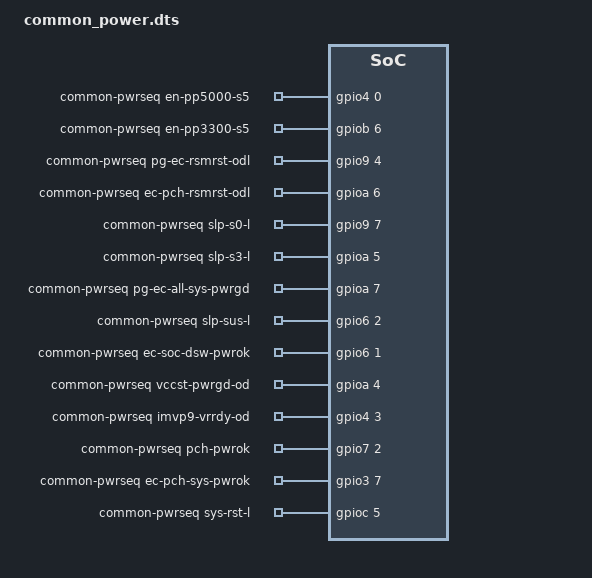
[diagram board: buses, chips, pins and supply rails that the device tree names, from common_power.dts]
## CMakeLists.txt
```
# Copyright 2021 The ChromiumOS Authors
# Use of this source code is governed by a BSD-style license that can be
# found in the LICENSE file.

cmake_minimum_required(VERSION 3.13.1)

find_package(Zephyr REQUIRED HINTS "${ZEPHYR_BASE}")

zephyr_include_directories(include)
zephyr_library_sources("src/common.c")
zephyr_library_sources("src/sub_board.c")
zephyr_library_sources_ifdef(CONFIG_AP_PWRSEQ "src/board_power.c")

if(DEFINED CONFIG_BOARD_NIVVIKS)
	project(nivviks)
	zephyr_library_sources(
			"nivviks/src/led.c"
			"nivviks/src/form_factor.c"
			"nivviks/src/keyboard.c"
	)
	zephyr_library_sources_ifdef(CONFIG_PLATFORM_EC_FAN "nivviks/src/fan.c")
	zephyr_library_sources_ifdef(CONFIG_PLATFORM_EC_USBC "nivviks/src/usbc.c")
	zephyr_library_sources_ifdef(CONFIG_PLATFORM_EC_CHARGER "nivviks/src/charger.c")
endif()
if(DEFINED CONFIG_BOARD_NEREID)
	project(nereid)
	zephyr_library_sources(
			"src/led.c"
			"nereid/src/keyboard.c"
			"nereid/src/hdmi.c"
	)
	zephyr_library_sources_ifdef(CONFIG_PLATFORM_EC_USBC "nereid/src/usbc.c")
	zephyr_library_sources_ifdef(CONFIG_PLATFORM_EC_CHARGER "nereid/src/charger.c")
endif()
if(DEFINED CONFIG_BOARD_CRAASK)
	zephyr_library_sources(
			"craask/src/form_factor.c"
			"craask/src/keyboard.c"
			"craask/src/led.c"
	)
	project(craask)
	zephyr_library_sources_ifdef(CONFIG_PLATFORM_EC_USBC "craask/src/usbc.c")
	zephyr_library_sources_ifdef(CONFIG_PLATFORM_EC_CHARGER "craask/src/charger.c")
endif()
if(DEFINED CONFIG_BOARD_PUJJO)
	project(pujjo)
	zephyr_library_sources(
			"pujjo/src/led.c"
			"pujjo/src/keyboard.c"
			"pujjo/src/hdmi.c"
			"pujjo/src/form_factor.c"
	)
	zephyr_library_sources_ifdef(CONFIG_PLATFORM_EC_FAN "pujjo/src/fan.c")
	zephyr_library_sources_ifdef(CONFIG_PLATFORM_EC_USBC "pujjo/src/usbc.c")
	zephyr_library_sources_ifdef(CONFIG_PLATFORM_EC_CHARGER "pujjo/src/charger.c")
endif()
if(DEFINED CONFIG_BOARD_XIVU)
	project(xivu)
	zephyr_library_sources(
			"xivu/src/keyboard.c"
	)
	zephyr_library_sources_ifdef(CONFIG_PLATFORM_EC_USBC "xivu/src/usbc.c")
	zephyr_library_sources_ifdef(CONFIG_PLATFORM_EC_CHARGER "xivu/src/charger.c")
endif()
if(DEFINED CONFIG_BOARD_JOXER)
	project(joxer)
	zephyr_library_sources(
			"joxer/src/led.c"
			"joxer/src/keyboard.c"
	)
	zephyr_library_sources_ifdef(CONFIG_PLATFORM_EC_USBC "joxer/src/usbc.c")
	zephyr_library_sources_ifdef(CONFIG_PLATFORM_EC_CHARGER "joxer/src/charger.c")
	zephyr_library_sources_ifdef(CONFIG_PLATFORM_EC_FAN "joxer/src/fan.c")
endif()
if(DEFINED CONFIG_BOARD_YAVIKS)
	project(yaviks)
	zephyr_library_sources(
			"yaviks/src/led.c"
			"yaviks/src/keyboard.c"
			"yaviks/src/board.c"
			"yaviks/src/thermal.c"
	)
	zephyr_library_sources_ifdef(CONFIG_PLATFORM_EC_USBC "yaviks/src/usbc.c")
	zephyr_library_sources_ifdef(CONFIG_PLATFORM_EC_CHARGER "yaviks/src/charger.c")
	zephyr_library_sources_ifdef(CONFIG_PLATFORM_EC_FAN "yaviks/src/fan.c")
endif()
if(DEFINED CONFIG_BOARD_XIVUR)
	project(xivur)
	zephyr_library_sources(
			"xivur/src/led.c"
			"xivur/src/board.c"
			"xivur/src/keyboard.c"
	)
	zephyr_library_sources_ifdef(CONFIG_PLATFORM_EC_FAN "xivur/src/fan.c")
	zephyr_library_sources_ifdef(CONFIG_PLATFORM_EC_USBC "xivur/src/usbc.c")
	zephyr_library_sources_ifdef(CONFIG_PLATFORM_EC_CHARGER "xivur/src/charger.c")
endif()
```

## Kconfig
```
# Copyright 2021 The ChromiumOS Authors. All rights reserved.
# Use of this source code is governed by a BSD-style license that can be
# found in the LICENSE file.

config BOARD_NIVVIKS
	bool "Google Nivviks Board"
	help
	  Build Google Nivviks reference board. Nivviks has Intel ADL-N SoC
	  with NPCX993FA0BX EC.

config BOARD_NEREID
	bool "Google Nereid Board"
	help
	  Build Google Nereid reference board. Nereid has Intel ADL-N SoC
	  with IT81302 EC.

config BOARD_CRAASK
	bool "Google Craask Board"
	help
	  Build Google Craask board. Craask has Intel ADL-N SoC
	  with NPCX993FA0BX EC.

config BOARD_PUJJO
	bool "Google Pujjo Board"
	help
	  Build Google Pujjo board. Pujjo has Intel ADL-N SoC
	  with NPCX993FA0BX EC.

config BOARD_XIVU
        bool "Google Xivu Board"
        help
          Build Google Xivu board. Xivu has Intel ADL-N SoC
          with NPCX993FA0BX EC.

config BOARD_JOXER
	bool "Google Joxer Board"
	help
	  Build Google Joxer reference board. Joxer has Intel ADL-N SoC
	  with IT81302 EC.

module = NISSA
module-str = Nissa board-specific code
source "subsys/logging/Kconfig.template.log_config"

source "Kconfig.zephyr"
```

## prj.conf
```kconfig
# Copyright 2021 The ChromiumOS Authors
# Use of this source code is governed by a BSD-style license that can be
# found in the LICENSE file.

# Core EC configuration: build the EC application, using ECOS shims
# (which are currently required for a number of features).
CONFIG_CROS_EC=y
CONFIG_PLATFORM_EC=y
CONFIG_LTO=y

# Debug options and features; can be disabled to save memory or once bringup
# is complete.
CONFIG_SHELL_MINIMAL=n
CONFIG_LOG=y
CONFIG_LOG_MODE_MINIMAL=y

# RAM-saving options
# flash shell command is unused, allocated a 4kB buffer for flash test
CONFIG_FLASH_SHELL=n
# EC default 1kB buffer seems unnecessarily large, Zephyr default is 8 bytes
CONFIG_SHELL_BACKEND_SERIAL_TX_RING_BUFFER_SIZE=128

# Standard shimmed features
CONFIG_PLATFORM_EC_BACKLIGHT_LID=y
CONFIG_PLATFORM_EC_CONSOLE_CMD_SYSINFO=y
CONFIG_PLATFORM_EC_EEPROM_CBI_WP=y
CONFIG_PLATFORM_EC_LID_SWITCH=y
CONFIG_PLATFORM_EC_POWER_BUTTON=y
CONFIG_PLATFORM_EC_SWITCH=y
CONFIG_PLATFORM_EC_GMR_TABLET_MODE=y
CONFIG_PLATFORM_EC_TABLET_MODE=y
CONFIG_PLATFORM_EC_TABLET_MODE_SWITCH=y
CONFIG_PLATFORM_EC_VBOOT_EFS2=y
CONFIG_PLATFORM_EC_VBOOT_HASH=y

# Application processor; communicates with EC via eSPI
CONFIG_AP=y
CONFIG_AP_X86_INTEL_ADL=y
CONFIG_ESPI=y
CONFIG_PLATFORM_EC_HOST_INTERFACE_ESPI_VW_SLP_S4=y
CONFIG_PLATFORM_EC_HOST_INTERFACE_ESPI_VW_SLP_S5=y
CONFIG_PLATFORM_EC_HOSTCMD=y
CONFIG_HCDEBUG_OFF=y
CONFIG_PLATFORM_EC_THROTTLE_AP=y
CONFIG_PLATFORM_EC_PORT80=y
CONFIG_PLATFORM_EC_PORT80_QUIET=y

# AP Power Sequencing
CONFIG_AP_PWRSEQ=y
CONFIG_X86_NON_DSX_PWRSEQ_ADL=y
CONFIG_X86_NON_DSX_PWRSEQ_CONSOLE=y
CONFIG_X86_NON_DSX_PWRSEQ_HOST_CMD=y
CONFIG_AP_PWRSEQ_S0IX=y
CONFIG_AP_PWRSEQ_S0IX_ERROR_RECOVERY=y

# I2C
CONFIG_I2C=y

# Keyboard support
CONFIG_PLATFORM_EC_KBLIGHT_ENABLE_PIN=y
CONFIG_PLATFORM_EC_KEYBOARD_PROTOCOL_8042=y
CONFIG_PLATFORM_EC_VOLUME_BUTTONS=y
CONFIG_PLATFORM_EC_CMD_BUTTON=n
# Column 2 is driven through the GSC, which inverts the signal going through it
CONFIG_PLATFORM_EC_KEYBOARD_COL2_INVERTED=y

# LED
CONFIG_PLATFORM_EC_LED_COMMON=y
CONFIG_PLATFORM_EC_LED_PWM=y
CONFIG_PLATFORM_EC_LED_ONOFF_STATES=y
CONFIG_PLATFORM_EC_CONSOLE_CMD_LEDTEST=n

# MKBP event
CONFIG_PLATFORM_EC_MKBP_EVENT=y
CONFIG_PLATFORM_EC_MKBP_INPUT_DEVICES=y
CONFIG_PLATFORM_EC_MKBP_USE_GPIO_AND_HOST_EVENT=y

# Temperature sensor support
CONFIG_PLATFORM_EC_TEMP_SENSOR=y
CONFIG_PLATFORM_EC_THERMISTOR=y
CONFIG_PLATFORM_EC_TEMP_SENSOR_FIRST_READ_DELAY=y

# CBI EEPROM support
CONFIG_EEPROM=y
CONFIG_EEPROM_AT24=y
CONFIG_EEPROM_SHELL=n
CONFIG_PLATFORM_EC_CBI_EEPROM=y
CONFIG_PLATFORM_EC_BOARD_VERSION_CBI=y


# PWM support
CONFIG_PWM=y
CONFIG_PWM_SHELL=y

# TODO(b/188605676): bring these features up
CONFIG_PLATFORM_EC_BACKLIGHT_LID=n

# Sensors support
CONFIG_PLATFORM_EC_LID_ANGLE=y
CONFIG_PLATFORM_EC_LID_ANGLE_UPDATE=y
CONFIG_PLATFORM_EC_CONSOLE_CMD_ACCELS=y
CONFIG_PLATFORM_EC_CONSOLE_CMD_ACCEL_INFO=y
CONFIG_PLATFORM_EC_ACCEL_FIFO=y
CONFIG_PLATFORM_EC_SENSOR_TIGHT_TIMESTAMPS=y

# USB-C: enable PD on up to two ports
CONFIG_PLATFORM_EC_USBC=y
CONFIG_PLATFORM_EC_USBC_PPC=n
CONFIG_PLATFORM_EC_USB_VID=0x18d1
CONFIG_PLATFORM_EC_USB_PID=0x505a
# USB4 and TBT are unsupported
CONFIG_PLATFORM_EC_USB_PD_USB4=n
CONFIG_PLATFORM_EC_USB_PD_TBT_COMPAT_MODE=n

CONFIG_PLATFORM_EC_USB_MUX_RUNTIME_CONFIG=y
CONFIG_PLATFORM_EC_USB_MUX_VIRTUAL=y
# ADL integrated muxes are slow: unblock PD
CONFIG_PLATFORM_EC_USB_MUX_TASK=y

# USB-C TCPC and PPC standard options
CONFIG_PLATFORM_EC_USB_PD_TCPC_LOW_POWER=y
CONFIG_PLATFORM_EC_USB_PD_VBUS_MEASURE_CHARGER=y

# USB-A host ports
CONFIG_PLATFORM_EC_USBA=y
CONFIG_PLATFORM_EC_USB_PORT_ENABLE_DYNAMIC=y
# Both ports use a smart switch with CTL1..3 fixed high, for SDP2 or CDP only:
# either SLGC55545 or PI5USB2546.
CONFIG_PLATFORM_EC_USB_PORT_POWER_SMART=y
CONFIG_PLATFORM_EC_USB_PORT_POWER_SMART_CDP_SDP_ONLY=y
CONFIG_PLATFORM_EC_USB_PORT_POWER_SMART_DEFAULT_CDP=y
CONFIG_PLATFORM_EC_USB_PORT_POWER_SMART_INVERTED=y

# Battery support
CONFIG_PLATFORM_EC_BATTERY_CUT_OFF=y
CONFIG_PLATFORM_EC_BATTERY_PRESENT_GPIO=y
CONFIG_PLATFORM_EC_BATTERY_FUEL_GAUGE=y
CONFIG_PLATFORM_EC_BATTERY_REVIVE_DISCONNECT=y

# Charger support
CONFIG_PLATFORM_EC_CHARGER=y
CONFIG_PLATFORM_EC_CHARGER_SENSE_RESISTOR=10
CONFIG_PLATFORM_EC_CHARGER_SENSE_RESISTOR_AC=10
CONFIG_PLATFORM_EC_CHARGER_DISCHARGE_ON_AC=y
CONFIG_PLATFORM_EC_CHARGER_DISCHARGE_ON_AC_CHARGER=y

# Dynamically select PD voltage to maximize charger efficiency
CONFIG_PLATFORM_EC_USB_PD_DPS=y
# Reduce logging so that state transitions do not cause protocol issues
# pd dump [1-3] can be used to increase the debugging level
CONFIG_PLATFORM_EC_USB_PD_INITIAL_DEBUG_LEVEL=0
```

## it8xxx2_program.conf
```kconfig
# Copyright 2022 The ChromiumOS Authors
# Use of this source code is governed by a BSD-style license that can be
# found in the LICENSE file.

CONFIG_CROS_FLASH_IT8XXX2=y
CONFIG_CROS_SYSTEM_IT8XXX2=y
CONFIG_ESPI_IT8XXX2=y
CONFIG_FPU=y
# rv32iafc/ilp32f is not supported by the toolchain, so use soft-float
CONFIG_FLOAT_HARD=n

# EC performance is bad; limiting sensor data rate helps keep it from degrading
# so much that it causes problems. b/240485526, b/230818312
CONFIG_PLATFORM_EC_MAX_SENSOR_FREQ_MILLIHZ=100000

# Allow more time for the charger to stabilise
CONFIG_PLATFORM_EC_POWER_BUTTON_INIT_TIMEOUT=5

# ITE has more space, so don't restrict shell
CONFIG_SHELL_MINIMAL=n

# RAM savings, since this chip is tight on available RAM.
# It's useful to store a lot of logs for the host to request, but the default 4k
# is pretty large.
CONFIG_PLATFORM_EC_HOSTCMD_CONSOLE_BUF_SIZE=2048
# Our threads have short names, save 20 bytes per thread
CONFIG_THREAD_MAX_NAME_LEN=12
# Task stacks, tuned by experiment. Most expanded to prevent overflow, and a few
# shrunk to save RAM.
CONFIG_AP_PWRSEQ_STACK_SIZE=1408
CONFIG_TASK_HOSTCMD_STACK_SIZE=1280
CONFIG_TASK_MOTIONSENSE_STACK_SIZE=1280
CONFIG_TASK_PD_INT_STACK_SIZE=1280

# TCPC+PPC: ITE on-chip for C0, PS8745 for optional C1
CONFIG_PLATFORM_EC_USB_PD_TCPM_ITE_ON_CHIP=y
CONFIG_PLATFORM_EC_USB_PD_TCPM_DRIVER_IT8XXX2=y
CONFIG_PLATFORM_EC_USB_PD_TCPM_PS8745=y
CONFIG_PLATFORM_EC_USB_PD_VBUS_DETECT_CHARGER=y
# SM5803 controls power path on both ports
CONFIG_PLATFORM_EC_USB_PD_5V_CHARGER_CTRL=y
# SM5803 can discharge VBUS, but not via one of the available options;
# pd_power_supply_reset() does discharge.
CONFIG_PLATFORM_EC_USB_PD_DISCHARGE=n
# The EC is put into programming mode while firmware is running
# (after releasing reset) and PD after being reset will hard-reset
# the port if a contract was already set up. If the system has no
# battery, this will prevent programming because it will brown out
# the system and reset. Inserting a delay gives the programmer more
# time to put the EC into programming mode.
CONFIG_PLATFORM_EC_USB_PD_STARTUP_DELAY_MS=2000

# Charger driver and configuration
CONFIG_PLATFORM_EC_OCPC=y
CONFIG_PLATFORM_EC_CHARGER_SM5803=y
CONFIG_PLATFORM_EC_OCPC_DEF_RBATT_MOHMS=21
CONFIG_PLATFORM_EC_OCPC_USE_CHARGER_INPUT_ERROR=y
CONFIG_PLATFORM_EC_OCPC_DEF_DRIVELIMIT_MILLIVOLTS=200
CONFIG_PLATFORM_EC_PD_MAX_VOLTAGE_MV=15000

# VSENSE: PP3300_S5 & PP1050_PROC
CONFIG_VCMP_IT8XXX2=y
CONFIG_SENSOR=y
CONFIG_SENSOR_SHELL=n
```

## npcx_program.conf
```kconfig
# Copyright 2022 The ChromiumOS Authors
# Use of this source code is governed by a BSD-style license that can be
# found in the LICENSE file.

# EC chip configuration: NPCX993
CONFIG_CROS_FLASH_NPCX=y
CONFIG_CROS_SYSTEM_NPCX=y
CONFIG_SOC_SERIES_NPCX9=y
CONFIG_PLATFORM_EC_WORKAROUND_FLASH_DOWNLOAD_API=y
CONFIG_SYSCON=y
CONFIG_TACH_NPCX=y
CONFIG_SHELL_BACKEND_SERIAL_RX_RING_BUFFER_SIZE=256

# Common sensor drivers
CONFIG_PLATFORM_EC_ACCEL_LIS2DW12=y

# Keyboard
CONFIG_CROS_KB_RAW_NPCX=y
CONFIG_PLATFORM_EC_KBLIGHT_ENABLE_PIN=y
# Ensure recovery key combination (esc+refresh+power) is reliable
CONFIG_PLATFORM_EC_KEYBOARD_PWRBTN_ASSERTS_KSI3=y
CONFIG_PLATFORM_EC_KEYBOARD_REFRESH_ROW3=y

# TCPC+PPC: both C0 and C1 (if present) are RAA489000
CONFIG_PLATFORM_EC_USB_PD_TCPM_RAA489000=y
CONFIG_PLATFORM_EC_USB_PD_DISCHARGE_TCPC=y
CONFIG_PLATFORM_EC_USB_PD_VBUS_DETECT_TCPC=y
CONFIG_PLATFORM_EC_USB_PD_TCPC_LPM_EXIT_DEBOUNCE_US=100000
# RAA489000 uses TCPCI but not a separate PPC, so custom function is required
CONFIG_PLATFORM_EC_USB_PD_5V_EN_CUSTOM=y

# Save some flash space by turning off features we don't care much about
# (EC Kconfig.console turns the ones we do care about on by default)
CONFIG_SHELL_MINIMAL=y

# FRS enable
CONFIG_PLATFORM_EC_USB_PD_FRS=y
CONFIG_PLATFORM_EC_USB_PD_FRS_TCPC=y

# Charger driver and configuration
CONFIG_PLATFORM_EC_CHARGER_RAA489000=y
CONFIG_PLATFORM_EC_OCPC_DEF_RBATT_MOHMS=22

# VSENSE: PP3300_S5 & PP1050_PROC
CONFIG_ADC_CMP_NPCX_WORKQUEUE=y
CONFIG_ADC_CMP_NPCX_WORKQUEUE_PRIORITY=12
```

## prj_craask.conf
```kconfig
# Copyright 2022 The ChromiumOS Authors. All rights reserved.
# Use of this source code is governed by a BSD-style license that can be
# found in the LICENSE file.

# EC chip configuration: NPCX993
CONFIG_BOARD_CRAASK=y
CONFIG_CROS_FLASH_NPCX=y
CONFIG_CROS_SYSTEM_NPCX=y
CONFIG_SOC_SERIES_NPCX9=y
CONFIG_PLATFORM_EC_WORKAROUND_FLASH_DOWNLOAD_API=y
CONFIG_SYSCON=y
CONFIG_TACH_NPCX=n

# Sensor drivers
CONFIG_PLATFORM_EC_ACCELGYRO_LSM6DSO=y
CONFIG_PLATFORM_EC_ACCEL_LIS2DW12=y

# Keyboard
CONFIG_CROS_KB_RAW_NPCX=y
CONFIG_PLATFORM_EC_KBLIGHT_ENABLE_PIN=y

# TCPC+PPC: both C0 and C1 (if present) are RAA489000
CONFIG_PLATFORM_EC_USB_PD_TCPM_RAA489000=y
CONFIG_PLATFORM_EC_USB_PD_DISCHARGE_TCPC=y
CONFIG_PLATFORM_EC_USB_PD_VBUS_DETECT_TCPC=y
CONFIG_PLATFORM_EC_USB_PD_TCPC_LPM_EXIT_DEBOUNCE_US=100000
# RAA489000 uses TCPCI but not a separate PPC, so custom function is required
CONFIG_PLATFORM_EC_USB_PD_5V_EN_CUSTOM=y
# type C port 1 redriver
CONFIG_PLATFORM_EC_USBC_RETIMER_ANX7483=y

# Charger driver and configuration
CONFIG_PLATFORM_EC_CHARGER_RAA489000=y
CONFIG_PLATFORM_EC_OCPC_DEF_RBATT_MOHMS=22

# VSENSE: PP3300_S5 & PP1050_PROC
CONFIG_ADC_CMP_NPCX=y
CONFIG_SENSOR=y
CONFIG_SENSOR_SHELL=n
```

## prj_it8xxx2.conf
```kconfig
# Copyright 2022 The ChromiumOS Authors
# Use of this source code is governed by a BSD-style license that can be
# found in the LICENSE file.

CONFIG_CROS_FLASH_IT8XXX2=y
CONFIG_CROS_SYSTEM_IT8XXX2=y
CONFIG_ESPI_IT8XXX2=y
CONFIG_FPU=y
# rv32iafc/ilp32f is not supported by the toolchain, so use soft-float
CONFIG_FLOAT_HARD=n

# EC performance is bad; limiting sensor data rate helps keep it from degrading
# so much that it causes problems. b/240485526, b/230818312
CONFIG_PLATFORM_EC_MAX_SENSOR_FREQ_MILLIHZ=100000

# Allow more time for the charger to stabilise
CONFIG_PLATFORM_EC_POWER_BUTTON_INIT_TIMEOUT=5

# RAM savings, since this chip is tight on available RAM.
# It's useful to store a lot of logs for the host to request, but the default 4k
# is pretty large.
CONFIG_PLATFORM_EC_HOSTCMD_CONSOLE_BUF_SIZE=2048
# Our threads have short names, save 20 bytes per thread
CONFIG_THREAD_MAX_NAME_LEN=12
# Task stacks, tuned by experiment. Most expanded to prevent overflow, and a few
# shrunk to save RAM.
CONFIG_AP_PWRSEQ_STACK_SIZE=1408
CONFIG_TASK_HOSTCMD_STACK_SIZE=1280
CONFIG_TASK_MOTIONSENSE_STACK_SIZE=1280
CONFIG_TASK_PD_INT_STACK_SIZE=1280

# TCPC+PPC: ITE on-chip for C0, PS8745 for optional C1
CONFIG_PLATFORM_EC_USB_PD_TCPM_DRIVER_IT8XXX2=y
CONFIG_PLATFORM_EC_USB_PD_TCPM_PS8745=y
CONFIG_PLATFORM_EC_USB_PD_VBUS_DETECT_CHARGER=y
# SM5803 controls power path on both ports
CONFIG_PLATFORM_EC_USB_PD_5V_CHARGER_CTRL=y
# SM5803 can discharge VBUS, but not via one of the available options;
# pd_power_supply_reset() does discharge.
CONFIG_PLATFORM_EC_USB_PD_DISCHARGE=n
# The EC is put into programming mode while firmware is running
# (after releasing reset) and PD after being reset will hard-reset
# the port if a contract was already set up. If the system has no
# battery, this will prevent programming because it will brown out
# the system and reset. Inserting a delay gives the programmer more
# time to put the EC into programming mode.
CONFIG_PLATFORM_EC_USB_PD_STARTUP_DELAY_MS=2000

# Charger driver and configuration
CONFIG_PLATFORM_EC_OCPC=y
CONFIG_PLATFORM_EC_CHARGER_SM5803=y
CONFIG_PLATFORM_EC_OCPC_DEF_RBATT_MOHMS=21
CONFIG_PLATFORM_EC_PD_MAX_VOLTAGE_MV=15000

# VSENSE: PP3300_S5 & PP1050_PROC
CONFIG_VCMP_IT8XXX2=y
CONFIG_SENSOR=y
CONFIG_SENSOR_SHELL=n
```

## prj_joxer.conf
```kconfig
# Copyright 2021 The Chromium OS Authors. All rights reserved.
# Use of this source code is governed by a BSD-style license that can be
# found in the LICENSE file.

# EC chip configuration: IT83102
CONFIG_BOARD_JOXER=y
CONFIG_CROS_FLASH_IT8XXX2=y
CONFIG_CROS_SYSTEM_IT8XXX2=y
CONFIG_ESPI_IT8XXX2=y
CONFIG_TACH_IT8XXX2=y

# Allow more time for the charger to stabilise
CONFIG_PLATFORM_EC_POWER_BUTTON_INIT_TIMEOUT=5

# RAM savings, since this chip is tight on available RAM.
# It's useful to store a lot of logs for the host to request, but the default 4k
# is pretty large.
CONFIG_PLATFORM_EC_HOSTCMD_CONSOLE_BUF_SIZE=2048
# Our threads have short names, save 20 bytes per thread
CONFIG_THREAD_MAX_NAME_LEN=12
# Task stacks, tuned by experiment. Most expanded to prevent overflow, and a few
# shrunk to save RAM.
CONFIG_AP_PWRSEQ_STACK_SIZE=1408
CONFIG_TASK_HOSTCMD_STACK_SIZE=1280
CONFIG_TASK_MOTIONSENSE_STACK_SIZE=1280
CONFIG_TASK_PD_INT_STACK_SIZE=1280

# Sensor drivers
CONFIG_PLATFORM_EC_ACCELGYRO_BMI_COMM_I2C=y
CONFIG_PLATFORM_EC_ACCELGYRO_BMI3XX=y
CONFIG_PLATFORM_EC_ACCEL_BMA4XX=y

# TCPC+PPC: ITE on-chip for C0, PS8745 for optional C1
CONFIG_PLATFORM_EC_USB_PD_TCPM_ITE_ON_CHIP=y
CONFIG_PLATFORM_EC_USB_PD_TCPM_DRIVER_IT8XXX2=y
CONFIG_PLATFORM_EC_USB_PD_TCPM_PS8745=y
CONFIG_PLATFORM_EC_USB_PD_VBUS_DETECT_CHARGER=y
# SM5803 controls power path on both ports
CONFIG_PLATFORM_EC_USB_PD_5V_CHARGER_CTRL=y
# SM5803 can discharge VBUS, but not via one of the available options;
# pd_power_supply_reset() does discharge.
CONFIG_PLATFORM_EC_USB_PD_DISCHARGE=n
# The EC is put into programming mode while firmware is running
# (after releasing reset) and PD after being reset will hard-reset
# the port if a contract was already set up. If the system has no
# battery, this will prevent programming because it will brown out
# the system and reset. Inserting a delay gives the programmer more
# time to put the EC into programming mode.
CONFIG_PLATFORM_EC_USB_PD_STARTUP_DELAY_MS=2000

# Charger driver and configuration
CONFIG_PLATFORM_EC_CHARGER_SM5803=y
CONFIG_PLATFORM_EC_OCPC_DEF_RBATT_MOHMS=21

# VSENSE: PP3300_S5 & PP1050_PROC
CONFIG_VCMP_IT8XXX2=y
CONFIG_SENSOR=y
CONFIG_SENSOR_SHELL=n

CONFIG_PLATFORM_EC_SYSTEM_UNLOCKED=y
```

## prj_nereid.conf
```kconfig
# Copyright 2021 The ChromiumOS Authors. All rights reserved.
# Use of this source code is governed by a BSD-style license that can be
# found in the LICENSE file.

# EC chip configuration: IT83102
CONFIG_BOARD_NEREID=y
CONFIG_CROS_FLASH_IT8XXX2=y
CONFIG_CROS_SYSTEM_IT8XXX2=y
CONFIG_ESPI_IT8XXX2=y

# Allow more time for the charger to stabilise
CONFIG_PLATFORM_EC_POWER_BUTTON_INIT_TIMEOUT=5

# RAM savings, since this chip is tight on available RAM.
# It's useful to store a lot of logs for the host to request, but the default 4k
# is pretty large.
CONFIG_PLATFORM_EC_HOSTCMD_CONSOLE_BUF_SIZE=2048
# Our threads have short names, save 20 bytes per thread
CONFIG_THREAD_MAX_NAME_LEN=12
# Task stacks, tuned by experiment. Most expanded to prevent overflow, and a few
# shrunk to save RAM.
CONFIG_AP_PWRSEQ_STACK_SIZE=1408
CONFIG_TASK_HOSTCMD_STACK_SIZE=1280
CONFIG_TASK_MOTIONSENSE_STACK_SIZE=1280
CONFIG_TASK_PD_INT_STACK_SIZE=1280

# Sensor drivers
CONFIG_PLATFORM_EC_ACCELGYRO_BMI_COMM_I2C=y
CONFIG_PLATFORM_EC_ACCELGYRO_BMI3XX=y
CONFIG_PLATFORM_EC_ACCEL_BMA4XX=y

# TCPC+PPC: ITE on-chip for C0, PS8745 for optional C1
CONFIG_PLATFORM_EC_USB_PD_TCPM_ITE_ON_CHIP=y
CONFIG_PLATFORM_EC_USB_PD_TCPM_DRIVER_IT8XXX2=y
CONFIG_PLATFORM_EC_USB_PD_TCPM_PS8745=y
CONFIG_PLATFORM_EC_USB_PD_VBUS_DETECT_CHARGER=y
# SM5803 controls power path on both ports
CONFIG_PLATFORM_EC_USB_PD_5V_CHARGER_CTRL=y
# SM5803 can discharge VBUS, but not via one of the available options;
# pd_power_supply_reset() does discharge.
CONFIG_PLATFORM_EC_USB_PD_DISCHARGE=n
# The EC is put into programming mode while firmware is running
# (after releasing reset) and PD after being reset will hard-reset
# the port if a contract was already set up. If the system has no
# battery, this will prevent programming because it will brown out
# the system and reset. Inserting a delay gives the programmer more
# time to put the EC into programming mode.
CONFIG_PLATFORM_EC_USB_PD_STARTUP_DELAY_MS=2000

# Charger driver and configuration
CONFIG_PLATFORM_EC_CHARGER_SM5803=y
CONFIG_PLATFORM_EC_OCPC_DEF_RBATT_MOHMS=21

# VSENSE: PP3300_S5 & PP1050_PROC
CONFIG_VCMP_IT8XXX2=y
CONFIG_SENSOR=y
CONFIG_SENSOR_SHELL=n
CONFIG_TACH_IT8XXX2=n
```

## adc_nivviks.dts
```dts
/* Copyright 2021 The Chromium OS Authors. All rights reserved.
 * Use of this source code is governed by a BSD-style license that can be
 * found in the LICENSE file.
 */

/ {
	named-adc-channels {
		compatible = "named-adc-channels";

		adc_temp_1: temp_1 {
			label = "TEMP_SENSOR_1";
			enum-name = "ADC_TEMP_SENSOR_1";
			channel = <0>;
		};
		adc_temp_2: temp_2 {
			label = "TEMP_SENSOR_2";
			enum-name = "ADC_TEMP_SENSOR_2";
			channel = <1>;
		};

		adc_pp3300_regulator: pp3300_regulator {
			label = "ADC_VSENSE_PP3300_S5";
			enum-name = "ADC_VSENSE_PP3300";
			channel = <6>;
		};
	};

};

&adc0 {
	status = "okay";
};
```

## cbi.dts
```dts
/* Copyright 2022 The Chromium OS Authors. All rights reserved.
 * Use of this source code is governed by a BSD-style license that can be
 * found in the LICENSE file.
 */

/ {
	nissa-fw-config {
		compatible = "cros-ec,cbi-fw-config";

		/*
		 * FW_CONFIG field to indicate which sub-board
		 * is attached.
		 */
		sub-board {
			enum-name = "FW_SUB_BOARD";
			start = <0>;
			size = <2>;

			sub-board-1 {
				compatible = "cros-ec,cbi-fw-config-value";
				enum-name = "FW_SUB_BOARD_1";
				value = <1>;
			};
			sub-board-2 {
				compatible = "cros-ec,cbi-fw-config-value";
				enum-name = "FW_SUB_BOARD_2";
				value = <2>;
			};
			sub-board-3 {
				compatible = "cros-ec,cbi-fw-config-value";
				enum-name = "FW_SUB_BOARD_3";
				value = <3>;
			};
		};

		/*
		 * FW_CONFIG field to enable fan or not.
		 */
		fan {
			enum-name = "FW_FAN";
			start = <2>;
			size = <1>;

			no-fan {
				compatible = "cros-ec,cbi-fw-config-value";
				enum-name = "FW_FAN_NOT_PRESENT";
				value = <0>;
			};
			fan-present {
				compatible = "cros-ec,cbi-fw-config-value";
				enum-name = "FW_FAN_PRESENT";
				value = <1>;
				/*
				 * Set as default so that unprovisioned
				 * configs will run the fan regardless.
				 */
				default;
			};
		};

		/*
		 * FW_CONFIG field to indicate which keyboard layout
		 * should be used.
		 */
		keyboard {
			enum-name = "FW_KB_LAYOUT";
			start = <3>;
			size = <2>;

			layout-1 {
				compatible = "cros-ec,cbi-fw-config-value";
				enum-name = "FW_KB_LAYOUT_DEFAULT";
				value = <0>;
			};
			layout-2 {
				compatible = "cros-ec,cbi-fw-config-value";
				enum-name = "FW_KB_LAYOUT_US2";
				value = <1>;
			};
		};
	};
};
```

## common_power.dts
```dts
/* Copyright 2022 The Chromium OS Authors. All rights reserved.
 * Use of this source code is governed by a BSD-style license that can be
 * found in the LICENSE file.
 */

/ {
	common-pwrseq {
		compatible = "intel,ap-pwrseq";

		sys-pwrok-delay = <10>;
		all-sys-pwrgd-timeout = <20>;

		en-pp5000-s5-gpios = <&gpio4 0 0>;
		en-pp3300-s5-gpios = <&gpiob 6 0>;
		pg-ec-rsmrst-odl-gpios = <&gpio9 4 0>;
		ec-pch-rsmrst-odl-gpios = <&gpioa 6 0>;
		slp-s0-l-gpios = <&gpio9 7 0>;
		slp-s3-l-gpios = <&gpioa 5 0>;
		pg-ec-all-sys-pwrgd-gpios = <&gpioa 7 0>;
		slp-sus-l-gpios = <&gpio6 2 0>;
		ec-soc-dsw-pwrok-gpios = <&gpio6 1 0>;

		vccst-pwrgd-od-gpios = <&gpioa 4 0>;
		imvp9-vrrdy-od-gpios = <&gpio4 3 0>;
		pch-pwrok-gpios = <&gpio7 2 0>;
		ec-pch-sys-pwrok-gpios = <&gpio3 7 0>;
		sys-rst-l-gpios = <&gpioc 5 0>;
	};
};
```

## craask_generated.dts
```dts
/* Copyright 2022 The ChromiumOS Authors. All rights reserved.
 * Use of this source code is governed by a BSD-style license that can be
 * found in the LICENSE file.
 *
 * This file is auto-generated - do not edit!
 */

/ {

	named-adc-channels {
		compatible = "named-adc-channels";

		adc_ec_vsense_pp1050_proc: ec_vsense_pp1050_proc {
			enum-name = "ADC_PP1050_PROC";
			io-channels = <&adc0 4>;
		};
		adc_ec_vsense_pp3300_s5: ec_vsense_pp3300_s5 {
			enum-name = "ADC_PP3300_S5";
			io-channels = <&adc0 6>;
		};
		adc_temp_sensor_1: temp_sensor_1 {
			enum-name = "ADC_TEMP_SENSOR_1";
			io-channels = <&adc0 0>;
		};
		adc_temp_sensor_2: temp_sensor_2 {
			enum-name = "ADC_TEMP_SENSOR_2";
			io-channels = <&adc0 1>;
		};
	};

	named-gpios {
		compatible = "named-gpios";

		gpio_acc_int_l: acc_int_l {
			gpios = <&gpio5 0 GPIO_INPUT>;
		};
		gpio_all_sys_pwrgd: all_sys_pwrgd {
			gpios = <&gpioa 7 GPIO_INPUT>;
		};
		gpio_ccd_mode_odl: ccd_mode_odl {
			gpios = <&gpioe 5 GPIO_INPUT>;
			enum-name = "GPIO_CCD_MODE_ODL";
		};
		gpio_cpu_c10_gate_l: cpu_c10_gate_l {
			gpios = <&gpio6 7 GPIO_INPUT>;
		};
		gpio_ec_battery_pres_odl: ec_battery_pres_odl {
			gpios = <&gpioa 3 GPIO_INPUT>;
			enum-name = "GPIO_BATT_PRES_ODL";
		};
		gpio_ec_cbi_wp: ec_cbi_wp {
			gpios = <&gpio7 4 GPIO_OUTPUT>;
		};
		gpio_ec_edp_bl_en_od: ec_edp_bl_en_od {
			gpios = <&gpiod 3 GPIO_ODR_HIGH>;
			enum-name = "GPIO_ENABLE_BACKLIGHT";
		};
		gpio_ec_entering_rw: ec_entering_rw {
			gpios = <&gpio0 3 GPIO_OUTPUT>;
			enum-name = "GPIO_ENTERING_RW";
		};
		gpio_ec_gsc_packet_mode: ec_gsc_packet_mode {
			gpios = <&gpio7 5 GPIO_OUTPUT>;
			enum-name = "GPIO_PACKET_MODE_EN";
		};
		gpio_ec_kso_02_inv: ec_kso_02_inv {
			gpios = <&gpio1 7 (GPIO_OUTPUT | GPIO_ACTIVE_LOW)>;
		};
		gpio_ec_pch_wake_odl: ec_pch_wake_odl {
			gpios = <&gpiob 0 GPIO_ODR_LOW>;
		};
		gpio_ec_prochot_odl: ec_prochot_odl {
			gpios = <&gpiof 1 GPIO_ODR_HIGH>;
		};
		gpio_ec_soc_dsw_pwrok: ec_soc_dsw_pwrok {
			gpios = <&gpio6 1 GPIO_OUTPUT>;
		};
		gpio_ec_soc_hdmi_hpd: ec_soc_hdmi_hpd {
			gpios = <&gpioe 4 GPIO_OUTPUT>;
		};
		gpio_ec_soc_int_odl: ec_soc_int_odl {
			gpios = <&gpio8 0 GPIO_ODR_HIGH>;
			enum-name = "GPIO_EC_INT_L";
		};
		gpio_ec_soc_pch_pwrok_od: ec_soc_pch_pwrok_od {
			gpios = <&gpio7 2 GPIO_ODR_HIGH>;
		};
		gpio_ec_soc_pwr_btn_odl: ec_soc_pwr_btn_odl {
			gpios = <&gpioc 1 GPIO_ODR_HIGH>;
			enum-name = "GPIO_PCH_PWRBTN_L";
		};
		gpio_ec_soc_rsmrst_l: ec_soc_rsmrst_l {
			gpios = <&gpioa 6 GPIO_OUTPUT>;
		};
		gpio_ec_soc_rtcrst: ec_soc_rtcrst {
			gpios = <&gpio7 6 GPIO_OUTPUT>;
		};
		gpio_ec_soc_sys_pwrok: ec_soc_sys_pwrok {
			gpios = <&gpio3 7 GPIO_OUTPUT>;
		};
		gpio_ec_soc_vccst_pwrgd_od: ec_soc_vccst_pwrgd_od {
			gpios = <&gpioa 4 GPIO_ODR_HIGH>;
		};
		gpio_ec_wp_odl: ec_wp_odl {
			gpios = <&gpioa 1 (GPIO_INPUT | GPIO_ACTIVE_LOW)>;
		};
		gpio_en_kb_bl: en_kb_bl {
			gpios = <&gpioa 0 GPIO_OUTPUT>;
			enum-name = "GPIO_EN_KEYBOARD_BACKLIGHT";
		};
		gpio_en_pp3300_s5: en_pp3300_s5 {
			gpios = <&gpiob 6 GPIO_OUTPUT>;
			enum-name = "GPIO_TEMP_SENSOR_POWER";
		};
		gpio_en_pp5000_pen_x: en_pp5000_pen_x {
			gpios = <&gpioe 2 GPIO_OUTPUT>;
		};
		gpio_en_pp5000_s5: en_pp5000_s5 {
			gpios = <&gpio4 0 GPIO_OUTPUT>;
		};
		gpio_en_slp_z: en_slp_z {
			gpios = <&gpioe 1 GPIO_OUTPUT>;
		};
		gpio_en_usb_a0_vbus: en_usb_a0_vbus {
			gpios = <&gpio9 1 GPIO_OUTPUT>;
		};
		gpio_gsc_ec_pwr_btn_odl: gsc_ec_pwr_btn_odl {
			gpios = <&gpio0 0 GPIO_INPUT_PULL_UP>;
			enum-name = "GPIO_POWER_BUTTON_L";
		};
		gpio_hdmi_sel: hdmi_sel {
			gpios = <&gpioc 6 GPIO_OUTPUT>;
		};
		gpio_imu_int_l: imu_int_l {
			gpios = <&gpio5 6 GPIO_INPUT>;
		};
		gpio_imvp91_vrrdy_od: imvp91_vrrdy_od {
			gpios = <&gpio4 3 GPIO_INPUT>;
		};
		gpio_lid_open: lid_open {
			gpios = <&gpiod 2 GPIO_INPUT>;
			enum-name = "GPIO_LID_OPEN";
		};
		gpio_pen_detect_odl: pen_detect_odl {
			gpios = <&gpio9 6 GPIO_INPUT_PULL_UP>;
		};
		gpio_pg_pp1050_mem_s3_od: pg_pp1050_mem_s3_od {
			gpios = <&gpiof 0 GPIO_INPUT>;
		};
		gpio_pg_pp5000_s5_od: pg_pp5000_s5_od {
			gpios = <&gpio4 2 GPIO_INPUT>;
		};
		gpio_rsmrst_pwrgd_l: rsmrst_pwrgd_l {
			gpios = <&gpio9 4 GPIO_INPUT_PULL_UP>;
		};
		gpio_slp_s0_l: slp_s0_l {
			gpios = <&gpio9 7 GPIO_INPUT>;
		};
		gpio_slp_s3_l: slp_s3_l {
			gpios = <&gpioa 5 GPIO_INPUT>;
		};
		gpio_slp_s4_l: slp_s4_l {
			gpios = <&gpio7 0 GPIO_INPUT>;
		};
		gpio_slp_sus_l: slp_sus_l {
			gpios = <&gpio6 2 GPIO_INPUT>;
		};
		gpio_sub_usb_a1_ilimit_sdp: sub_usb_a1_ilimit_sdp {
			gpios = <&gpiod 5 GPIO_OUTPUT>;
			enum-name = "GPIO_USB2_ILIM_SEL";
		};
		gpio_sys_rst_odl: sys_rst_odl {
			gpios = <&gpioc 5 GPIO_ODR_HIGH>;
		};
		gpio_tablet_mode_l: tablet_mode_l {
			gpios = <&gpio9 5 GPIO_INPUT>;
			enum-name = "GPIO_TABLET_MODE_L";
		};
		gpio_usb_a0_ilimit_sdp: usb_a0_ilimit_sdp {
			gpios = <&gpio8 5 GPIO_OUTPUT>;
			enum-name = "GPIO_USB1_ILIM_SEL";
		};
		gpio_usb_c0_int_odl: usb_c0_int_odl {
			gpios = <&gpio0 1 GPIO_INPUT_PULL_UP>;
		};
		gpio_vccin_aux_vid0: vccin_aux_vid0 {
			gpios = <&gpio9 2 GPIO_INPUT>;
		};
		gpio_vccin_aux_vid1: vccin_aux_vid1 {
			gpios = <&gpioe 3 GPIO_INPUT>;
		};
		gpio_voldn_btn_odl: voldn_btn_odl {
			gpios = <&gpioa 2 GPIO_INPUT_PULL_UP>;
			enum-name = "GPIO_VOLUME_DOWN_L";
		};
		gpio_volup_btn_odl: volup_btn_odl {
			gpios = <&gpio9 3 GPIO_INPUT_PULL_UP>;
			enum-name = "GPIO_VOLUME_UP_L";
		};
	};

	named-i2c-ports {
		compatible = "named-i2c-ports";

		i2c_ec_i2c_eeprom: ec_i2c_eeprom {
			i2c-port = <&i2c0_0>;
			enum-name = "I2C_PORT_EEPROM";
		};
		i2c_ec_i2c_sensor: ec_i2c_sensor {
			i2c-port = <&i2c1_0>;
			enum-name = "I2C_PORT_SENSOR";
		};
		i2c_ec_i2c_usb_c0: ec_i2c_usb_c0 {
			i2c-port = <&i2c3_0>;
			enum-name = "I2C_PORT_USB_C0_TCPC";
		};
		i2c_ec_i2c_sub_usb_c1: ec_i2c_sub_usb_c1 {
			i2c-port = <&i2c5_1>;
			enum-name = "I2C_PORT_USB_C1_TCPC";
		};
		i2c_ec_i2c_batt: ec_i2c_batt {
			i2c-port = <&i2c7_0>;
			enum-name = "I2C_PORT_BATTERY";
		};
	};
};

&adc0 {
	status = "okay";
	pinctrl-0 = <&adc0_chan0_gp45
		     &adc0_chan1_gp44
		     &adc0_chan4_gp41
		     &adc0_chan6_gp34>;
	pinctrl-names = "default";
};

&i2c0_0 {
	status = "okay";
	pinctrl-0 = <&i2c0_0_sda_scl_gpb4_b5>;
	pinctrl-names = "default";
};

&i2c1_0 {
	status = "okay";
	pinctrl-0 = <&i2c1_0_sda_scl_gp87_90>;
	pinctrl-names = "default";
};

&i2c3_0 {
	status = "okay";
	pinctrl-0 = <&i2c3_0_sda_scl_gpd0_d1>;
	pinctrl-names = "default";
};

&i2c5_1 {
	status = "okay";
	pinctrl-0 = <&i2c5_1_sda_scl_gpf4_f5>;
	pinctrl-names = "default";
};

&i2c7_0 {
	status = "okay";
	pinctrl-0 = <&i2c7_0_sda_scl_gpb2_b3>;
	pinctrl-names = "default";
};

&i2c_ctrl0 {
	status = "okay";
};

&i2c_ctrl1 {
	status = "okay";
};

&i2c_ctrl3 {
	status = "okay";
};

&i2c_ctrl5 {
	status = "okay";
};

&i2c_ctrl7 {
	status = "okay";
};
```

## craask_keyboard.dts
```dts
/* Copyright 2022 The Chromium OS Authors. All rights reserved.
 * Use of this source code is governed by a BSD-style license that can be
 * found in the LICENSE file.
 */

&cros_kb_raw {
	status = "okay";
	/* No KSO2 (it's inverted and implemented by GPIO) */
	pinctrl-0 = <
		&alt7_no_ksi0_sl
		&alt7_no_ksi1_sl
		&alt7_no_ksi2_sl
		&alt7_no_ksi3_sl
		&alt7_no_ksi4_sl
		&alt7_no_ksi5_sl
		&alt7_no_ksi6_sl
		&alt7_no_ksi7_sl
		&alt8_no_kso00_sl
		&alt8_no_kso01_sl
		&alt8_no_kso03_sl
		&alt8_no_kso04_sl
		&alt8_no_kso05_sl
		&alt8_no_kso06_sl
		&alt8_no_kso07_sl
		&alt9_no_kso08_sl
		&alt9_no_kso09_sl
		&alt9_no_kso10_sl
		&alt9_no_kso11_sl
		&alt9_no_kso12_sl
	>;
};
```

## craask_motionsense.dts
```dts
/* Copyright 2022 The ChromiumOS Authors. All rights reserved.
 * Use of this source code is governed by a BSD-style license that can be
 * found in the LICENSE file.
 */

#include <dt-bindings/motionsense/utils.h>


/ {
	aliases {
		/*
		 * Interrupt bindings for sensor devices.
		 */
		lsm6dso-int = &base_accel;
		lis2dw12-int = &lid_accel;
	};

	/*
	 * Declare mutexes used by sensor drivers.
	 * A mutex node is used to create an instance of mutex_t.
	 * A mutex node is referenced by a sensor node if the
	 * corresponding sensor driver needs to use the
	 * instance of the mutex.
	 */
	motionsense-mutex {
		compatible = "cros-ec,motionsense-mutex";
		lid_mutex: lid-mutex {
		};

		base_mutex: base-mutex {
		};
	};

	/* Rotation matrix used by drivers. */
	motionsense-rotation-ref {
		compatible = "cros-ec,motionsense-rotation-ref";
		lid_rot_ref: lid-rotation-ref {
			mat33 = <(-1) 0 0
				 0 1 0
				 0 0 (-1)>;
		};

		base_rot_ref: base-rotation-ref {
			mat33 = <(-1) 0 0
				 0 (-1) 0
				 0 0 1>;
		};
	};

	/*
	 * Driver specific data. A driver-specific data can be shared with
	 * different motion sensors while they are using the same driver.
	 *
	 * If a node's compatible starts with "cros-ec,accelgyro-", it is for
	 * a common structure defined in accelgyro.h.
	 * e.g) compatible = "cros-ec,accelgyro-als-drv-data" is for
	 * "struct als_drv_data_t" in accelgyro.h
	 */
	motionsense-sensor-data {
		lsm6dso_data: lsm6dso-drv-data {
			compatible = "cros-ec,drvdata-lsm6dso";
			status = "okay";
		};

		lis2dw12_data: lis2dw12-drv-data {
			compatible = "cros-ec,drvdata-lis2dw12";
			status = "okay";
		};
	};

	/*
	 * List of motion sensors that creates motion_sensors array.
	 * The nodelabel "lid_accel" and "base_accel" are used to indicate
	 * motion sensor IDs for lid angle calculation.
	 * TODO(b/238139272): The first entries of the array must be
	 * accelerometers,then gyroscope. Fix this dependency in the DTS
	 * processing which makes the devicetree entries independent.
	 */
	motionsense-sensor {
		lid_accel: lid-accel {
			compatible = "cros-ec,lis2dw12";
			status = "okay";

			active-mask = "SENSOR_ACTIVE_S0_S3";
			location = "MOTIONSENSE_LOC_LID";
			mutex = <&lid_mutex>;
			port = <&i2c_ec_i2c_sensor>;
			rot-standard-ref = <&lid_rot_ref>;
			default-range = <2>;
			drv-data = <&lis2dw12_data>;
			i2c-spi-addr-flags = "LIS2DWL_ADDR0_FLAGS";
			configs {
				compatible =
					"cros-ec,motionsense-sensor-config";
				ec-s0 {
					odr = <(10000 | ROUND_UP_FLAG)>;
				};
				ec-s3 {
					odr = <(10000 | ROUND_UP_FLAG)>;
				};
			};
		};

		base_accel: base-accel {
			compatible = "cros-ec,lsm6dso-accel";
			status = "okay";

			active-mask = "SENSOR_ACTIVE_S0_S3";
			location = "MOTIONSENSE_LOC_BASE";
			mutex = <&base_mutex>;
			port = <&i2c_ec_i2c_sensor>;
			rot-standard-ref = <&base_rot_ref>;
			drv-data = <&lsm6dso_data>;
			configs {
				compatible =
					"cros-ec,motionsense-sensor-config";
				ec-s0 {
					odr = <(10000 | ROUND_UP_FLAG)>;
				};
				ec-s3 {
					odr = <(10000 | ROUND_UP_FLAG)>;
				};
			};
		};

		base_gyro: base-gyro {
			compatible = "cros-ec,lsm6dso-gyro";
			status = "okay";

			active-mask = "SENSOR_ACTIVE_S0_S3";
			location = "MOTIONSENSE_LOC_BASE";
			mutex = <&base_mutex>;
			port = <&i2c_ec_i2c_sensor>;
			rot-standard-ref = <&base_rot_ref>;
			default-range = <(1000 | ROUND_UP_FLAG)>; /* dps */
			drv-data = <&lsm6dso_data>;
		};
	};

	motionsense-sensor-info {
		compatible = "cros-ec,motionsense-sensor-info";

		/*
		 * list of GPIO interrupts that have to
		 * be enabled at initial stage
		 */
		sensor-irqs = <&int_imu>;
		/* list of sensors in force mode */
		accel-force-mode-sensors = <&lid_accel>;
	};
};
```

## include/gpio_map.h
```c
<<<<<<< HEAD   (8c53b8 battery: Set EC_BATT_FLAG_INVALID_DATA correctly)
=======
/* Copyright 2021 The Chromium OS Authors. All rights reserved.
 * Use of this source code is governed by a BSD-style license that can be
 * found in the LICENSE file.
 */

#ifndef __ZEPHYR_GPIO_MAP_H
#define __ZEPHYR_GPIO_MAP_H

#include <devicetree.h>
#include <gpio_signal.h>

/*
 * Set EC_CROS_GPIO_INTERRUPTS to a space-separated list of GPIO_INT items.
 *
 * Each GPIO_INT requires three parameters:
 *   gpio_signal - The enum gpio_signal for the interrupt gpio
 *   interrupt_flags - The interrupt-related flags (e.g. GPIO_INT_EDGE_BOTH)
 *   handler - The platform/ec interrupt handler.
 *
 * Ensure that this files includes all necessary headers to declare all
 * referenced handler functions.
 *
 * For example, one could use the follow definition:
 * #define EC_CROS_GPIO_INTERRUPTS \
 *   GPIO_INT(NAMED_GPIO(h1_ec_pwr_btn_odl), GPIO_INT_EDGE_BOTH, button_print)
 */
/* Helper macros for generating CROS_EC_GPIO_INTERRUPTS */

#ifdef CONFIG_PLATFORM_EC_POWERSEQ
#define POWER_SIGNAL_INT(gpio, edge) \
	GPIO_INT(gpio, edge, power_signal_interrupt)
#define AP_PROCHOT_INT(gpio, edge) \
	GPIO_INT(gpio, edge, throttle_ap_prochot_input_interrupt)
#else
#define POWER_SIGNAL_INT(gpio, edge)
#define AP_PROCHOT_INT(gpio, edge)
#endif

#ifdef CONFIG_PLATFORM_EC_SWITCH
	#define WP_INT()        GPIO_INT(GPIO_WP_L,                           \
					 GPIO_INT_EDGE_BOTH,                  \
					 switch_interrupt)
#else
	#define WP_INT()
#endif

#ifdef CONFIG_PLATFORM_EC_POWER_BUTTON
	#define PWRBTN_INT()        GPIO_INT(GPIO_POWER_BUTTON_L,             \
					     GPIO_INT_EDGE_BOTH,              \
					     power_button_interrupt)
#else
	#define PWRBTN_INT()
#endif

#ifdef CONFIG_PLATFORM_EC_LID_SWITCH
	#define LID_INT()       GPIO_INT(GPIO_LID_OPEN, \
				GPIO_INT_EDGE_BOTH,     \
				lid_interrupt)
#else
	#define LID_INT()
#endif

#ifdef CONFIG_PLATFORM_EC_ACCELGYRO_LSM6DSO_AS_BASE
	#define LSM6DSO_INT()   GPIO_INT(GPIO_EC_IMU_INT_L, \
				GPIO_INT_EDGE_FALLING,     \
				lsm6dso_interrupt)
#else
	#define LSM6DSO_INT()
#endif

#ifdef CONFIG_PLATFORM_EC_VOLUME_BUTTONS
	#define VOLBTN_INT(pin)     GPIO_INT(pin,                             \
					     GPIO_INT_EDGE_BOTH,              \
					     button_interrupt)
#else
	#define VOLBTN_INT(pin)
#endif

#ifdef CONFIG_PLATFORM_EC_USBC
	#define USBC_INT(pin, port)	GPIO_INT(pin,			      \
						 GPIO_INT_EDGE_FALLING,	      \
						 usb_c ## port ## _interrupt)
#else
	#define USBC_INT(pin, port)
#endif


#define EC_CROS_GPIO_INTERRUPTS                                         \
	WP_INT()							\
	LID_INT()							\
	LSM6DSO_INT()							\
	PWRBTN_INT()							\
	VOLBTN_INT(GPIO_VOLUME_DOWN_L)					\
	VOLBTN_INT(GPIO_VOLUME_UP_L)					\
	POWER_SIGNAL_INT(GPIO_SLP_SUS_L, GPIO_INT_EDGE_BOTH)            \
	POWER_SIGNAL_INT(GPIO_PG_EC_DSW_PWROK, GPIO_INT_EDGE_BOTH)      \
	POWER_SIGNAL_INT(GPIO_PG_EC_RSMRST_ODL, GPIO_INT_EDGE_BOTH)     \
	POWER_SIGNAL_INT(GPIO_PG_EC_ALL_SYS_PWRGD, GPIO_INT_EDGE_BOTH)  \
	AP_PROCHOT_INT(GPIO_EC_PROCHOT_ODL, GPIO_INT_EDGE_BOTH)		\
	USBC_INT(GPIO_USB_C0_PD_INT_ODL, 0)				\
	USBC_INT(GPIO_USB_C1_PD_INT_ODL, 1)
#endif /* __ZEPHYR_GPIO_MAP_H */
>>>>>>> CHANGE (eb25e8 Merge remote-tracking branch cros/main into firmware-dedede-)
```

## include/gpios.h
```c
/* Copyright 2022 The Chromium OS Authors. All rights reserved.
 * Use of this source code is governed by a BSD-style license that can be
 * found in the LICENSE file.
 */

#ifndef __ZEPHYR_NISSA_GPIOS_H
#define __ZEPHYR_NISSA_GPIOS_H

#include <devicetree.h>
#include <drivers/gpio.h>

/*
 * Nissa board specific GPIOs.
 * These pins have multiple functions depending
 * on the sub-board connected.
 */
extern const struct gpio_dt_spec gpio_usb_c1_int_odl;
extern const struct gpio_dt_spec gpio_en_sub_rails_odl;
extern const struct gpio_dt_spec gpio_usb_c0_int_odl;
extern const struct gpio_dt_spec gpio_hdmi_en_sub_odl;
extern const struct gpio_dt_spec gpio_hpd_sub_odl;
extern const struct gpio_dt_spec gpio_en_sub_usb_a1_vbus;
extern const struct gpio_dt_spec gpio_sub_usb_a1_ilimit_sdp;
#ifdef CONFIG_BOARD_NEREID
extern const struct gpio_dt_spec gpio_en_usb_c0_cc1_vconn;
extern const struct gpio_dt_spec gpio_en_usb_c0_cc2_vconn;
#endif

#endif /* __ZEPHYR_NISSA_GPIOS_H */
```

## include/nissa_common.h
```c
/* Copyright 2022 The ChromiumOS Authors
 * Use of this source code is governed by a BSD-style license that can be
 * found in the LICENSE file.
 */

/* Nissa common declarations */

#ifndef __CROS_EC_NISSA_NISSA_COMMON_H__
#define __CROS_EC_NISSA_NISSA_COMMON_H__

#include "usb_mux.h"

enum nissa_sub_board_type {
	NISSA_SB_UNKNOWN = -1, /* Uninitialised */
	NISSA_SB_NONE = 0, /* No board defined */
	NISSA_SB_C_A = 1, /* USB type C, USB type A */
	NISSA_SB_C_LTE = 2, /* USB type C, WWAN LTE */
	NISSA_SB_HDMI_A = 3, /* HDMI, USB type A */
};

enum nissa_sub_board_type nissa_get_sb_type(void);

#ifdef CONFIG_KEYBOARD_FACTORY_TEST
extern const int keyboard_factory_scan_pins[][2];
extern const int keyboard_factory_scan_pins_used;
#endif

#endif /* __CROS_EC_NISSA_NISSA_COMMON_H__ */
```

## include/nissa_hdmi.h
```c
/* Copyright 2022 The ChromiumOS Authors.
 * Use of this source code is governed by a BSD-style license that can be
 * found in the LICENSE file.
 */

/* Nissa shared HDMI sub-board functionality */

#ifndef __CROS_EC_NISSA_NISSA_COMMON_H__
#define __CROS_EC_NISSA_NISSA_COMMON_H__

#include "common.h"

/** True if the board supports an HDMI sub-board. */
#define NISSA_BOARD_HAS_HDMI_SUPPORT DT_NODE_EXISTS(DT_NODELABEL(gpio_hdmi_sel))

/**
 * Configure the GPIO that controls core rails on the HDMI sub-board.
 *
 * This is the gpio_en_rails_odl pin, which is configured as active-low
 * open-drain output to enable power to the HDMI sub-board (typically when the
 * AP is in S5 or above).
 *
 * This function must be called if the pin is connected to the HDMI board and
 * power is not enabled by default.
 */
void nissa_configure_hdmi_rails(void);

/**
 * Configure the GPIO that controls the HDMI VCC pin on the HDMI sub-board.
 *
 * This is the gpio_hdmi_en_odl pin, which is configured as active-low
 * open-drain output to enable the VCC pin on the HDMI connector (typically when
 * the AP is on, in S0 or S0ix).
 *
 * This function must be called if the pin is connected to the HDMI board and
 * VCC is not enabled by default.
 */
void nissa_configure_hdmi_vcc(void);

/**
 * Configure the GPIOS controlling HDMI sub-board power (core rails and VCC).
 *
 * This function is called from shared code while configuring sub-boards, and
 * used if an HDMI sub-board is present. The default implementation enables the
 * core rails control pin (nissa_configure_hdmi_rails) but not VCC
 * (nissa_configure_hdmi_vcc), assuming that the pin for VCC is not connected
 * connected on most boards (and that VCC will be turned on whenever the core
 * rails are turned on).
 *
 * A board should override this function if it needs to enable more IOs for
 * HDMI, or if some pins need to be conditionally enabled.
 */
__overridable void nissa_configure_hdmi_power_gpios(void);

#endif /* __CROS_EC_NISSA_NISSA_COMMON_H__ */
```

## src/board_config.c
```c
/* Copyright 2022 The Chromium OS Authors. All rights reserved.
 * Use of this source code is governed by a BSD-style license that can be
 * found in the LICENSE file.
 */

/* Nissa daughter board detection */

#include <drivers/cros_cbi.h>
#include "console.h"
#include "hooks.h"

#define CPRINTS(format, args...) cprints(CC_SYSTEM, format, ## args)
#define CPRINTF(format, args...) cprintf(CC_SYSTEM, format, ## args)

static void nissa_board_config_init(void)
{
	uint32_t val;
	const struct device *dev = device_get_binding(CROS_CBI_LABEL);

	if (dev == NULL) {
		CPRINTS("No %s device", CROS_CBI_LABEL);
		return;
	}
	CPRINTS("CBI FW: field X: %d, field Y: %d", FW_CONFIG_X, FW_CONFIG_Y);
	if (cros_cbi_get_fw_config(dev, FW_CONFIG_X, &val) == 0) {
		switch (val) {
		default:
			CPRINTS("CBI FW: Unknown value (%d) for field %d",
				val, FW_CONFIG_X);
			break;

		case FW_X_OPTION_1:
			CPRINTS("CBI FW: Option 1");
			break;

		case FW_X_OPTION_2:
			CPRINTS("CBI FW: Option 2");
			break;
		}
	}
}
DECLARE_HOOK(HOOK_INIT, nissa_board_config_init, HOOK_PRIO_INIT_I2C - 1);
```

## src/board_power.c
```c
/* Copyright 2022 The ChromiumOS Authors
 * Use of this source code is governed by a BSD-style license that can be
 * found in the LICENSE file.
 */

#include "gpio/gpio.h"
#include "gpio_signal.h"
#include "system_boot_time.h"

#include <zephyr/drivers/gpio.h>
#include <zephyr/logging/log.h>
#include <zephyr/sys/atomic.h>
#include <zephyr/logging/log.h>
#include <zephyr/drivers/gpio.h>

#include <ap_power/ap_power.h>
#include <ap_power/ap_power_events.h>
#include <ap_power/ap_power_interface.h>
#include <ap_power_override_functions.h>
#include <power_signals.h>
#include <x86_power_signals.h>

#include "gpio_signal.h"
#include "gpio/gpio.h"

LOG_MODULE_DECLARE(ap_pwrseq, LOG_LEVEL_INF);

#define X86_NON_DSX_ADLP_NONPWRSEQ_FORCE_SHUTDOWN_TO_MS 5

static bool s0_stable;

static void generate_ec_soc_dsw_pwrok_handler(int delay)
{
	int in_sig_val = power_signal_get(PWR_DSW_PWROK);

	if (in_sig_val != power_signal_get(PWR_EC_SOC_DSW_PWROK)) {
		if (in_sig_val)
			k_msleep(delay);
		power_signal_set(PWR_EC_SOC_DSW_PWROK, 1);
	}
}

void board_ap_power_force_shutdown(void)
{
	int timeout_ms = X86_NON_DSX_ADLP_NONPWRSEQ_FORCE_SHUTDOWN_TO_MS;

	if (s0_stable) {
		/* Enable these power signals in case of sudden shutdown */
		power_signal_enable(PWR_DSW_PWROK);
		power_signal_enable(PWR_PG_PP1P05);
	}

	power_signal_set(PWR_EC_SOC_DSW_PWROK, 0);
	power_signal_set(PWR_EC_PCH_RSMRST, 0);

	while (power_signal_get(PWR_RSMRST) == 0 &&
	       power_signal_get(PWR_SLP_SUS) == 0 && timeout_ms > 0) {
		k_msleep(1);
		timeout_ms--;
	}
	if (power_signal_get(PWR_SLP_SUS) == 0) {
		LOG_WRN("SLP_SUS is not deasserted! Assuming G3");
	}

	if (power_signal_get(PWR_RSMRST) == 1) {
		LOG_WRN("RSMRST is not deasserted! Assuming G3");
	}

	power_signal_set(PWR_EN_PP3300_A, 0);

	power_signal_set(PWR_EN_PP5000_A, 0);

	timeout_ms = X86_NON_DSX_ADLP_NONPWRSEQ_FORCE_SHUTDOWN_TO_MS;
	while (power_signal_get(PWR_DSW_PWROK) && timeout_ms > 0) {
		k_msleep(1);
		timeout_ms--;
	};

	if (power_signal_get(PWR_DSW_PWROK))
		LOG_WRN("DSW_PWROK didn't go low!  Assuming G3.");

	power_signal_disable(PWR_DSW_PWROK);
	power_signal_disable(PWR_PG_PP1P05);
	s0_stable = false;
}

void board_ap_power_action_g3_s5(void)
{
	power_signal_enable(PWR_DSW_PWROK);
	power_signal_enable(PWR_PG_PP1P05);

	LOG_DBG("Turning on PWR_EN_PP5000_A and PWR_EN_PP3300_A");
	power_signal_set(PWR_EN_PP5000_A, 1);
	power_signal_set(PWR_EN_PP3300_A, 1);

	update_ap_boot_time(ARAIL);
	power_wait_signals_timeout(IN_PGOOD_ALL_CORE,
				   AP_PWRSEQ_DT_VALUE(wait_signal_timeout));

	generate_ec_soc_dsw_pwrok_handler(AP_PWRSEQ_DT_VALUE(dsw_pwrok_delay));
	s0_stable = false;
}

void board_ap_power_action_s3_s0(void)
{
	s0_stable = false;
}

void board_ap_power_action_s0_s3(void)
{
	power_signal_enable(PWR_DSW_PWROK);
	power_signal_enable(PWR_PG_PP1P05);
	s0_stable = false;
}

void board_ap_power_action_s0(void)
{
	if (s0_stable) {
		return;
	}
	LOG_INF("Reaching S0");
	power_signal_disable(PWR_DSW_PWROK);
	power_signal_disable(PWR_PG_PP1P05);
	s0_stable = true;
}

int board_ap_power_assert_pch_power_ok(void)
{
	/* Pass though PCH_PWROK */
	if (power_signal_get(PWR_PCH_PWROK) == 0) {
		k_msleep(AP_PWRSEQ_DT_VALUE(pch_pwrok_delay));
		power_signal_set(PWR_PCH_PWROK, 1);
	}

	return 0;
}

bool board_ap_power_check_power_rails_enabled(void)
{
	return power_signal_get(PWR_EN_PP3300_A) &&
	       power_signal_get(PWR_EN_PP5000_A) &&
	       power_signal_get(PWR_EC_SOC_DSW_PWROK);
}

int board_power_signal_get(enum power_signal signal)
{
	switch (signal) {
	default:
		LOG_ERR("Unknown signal for board get: %d", signal);
		return -EINVAL;

	case PWR_ALL_SYS_PWRGD:
		/*
		 * All system power is good.
		 * Checks that PWR_SLP_S3 is off, and
		 * the GPIO signal for all power good is set,
		 * and that the 1.05 volt line is ready.
		 */
		if (power_signal_get(PWR_SLP_S3)) {
			return 0;
		}
		if (!gpio_pin_get_dt(
			    GPIO_DT_FROM_NODELABEL(gpio_all_sys_pwrgd))) {
			return 0;
		}
		if (!power_signal_get(PWR_PG_PP1P05)) {
			return 0;
		}
		return 1;
	}
}

int board_power_signal_set(enum power_signal signal, int value)
{
	return -EINVAL;
}
```

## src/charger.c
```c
<<<<<<< HEAD   (8c53b8 battery: Set EC_BATT_FLAG_INVALID_DATA correctly)
=======
/* Copyright 2021 The Chromium OS Authors. All rights reserved.
 * Use of this source code is governed by a BSD-style license that can be
 * found in the LICENSE file.
 */

#include "battery.h"
#include "charger.h"
#include "charger/isl923x_public.h"
#include "usb_pd.h"
#include "sub_board.h"

const struct charger_config_t chg_chips[] = {
	{
		.i2c_port = I2C_PORT_USB_C0_TCPC,
		.i2c_addr_flags = ISL923X_ADDR_FLAGS,
		.drv = &isl923x_drv,
	},
	/* Sub-board */
	{
		.i2c_port = I2C_PORT_USB_C1_TCPC,
		.i2c_addr_flags = ISL923X_ADDR_FLAGS,
		.drv = &isl923x_drv,
	},
};

int extpower_is_present(void)
{
	int port;
	int rv;
	bool acok;

	for (port = 0; port < board_get_usb_pd_port_count(); port++) {
		rv = raa489000_is_acok(port, &acok);
		if ((rv == EC_SUCCESS) && acok)
			return 1;
	}

	return 0;
}

/*
 * Count of chargers depends on sub board presence.
 */
__override uint8_t board_get_charger_chip_count(void)
{
	switch (nissa_get_sb_type()) {
	default:
		return 1;

	case NISSA_SB_C_A:
	case NISSA_SB_C_LTE:
		return 2;
	}
}
>>>>>>> CHANGE (eb25e8 Merge remote-tracking branch cros/main into firmware-dedede-)
```

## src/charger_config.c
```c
/* Copyright 2021 The Chromium OS Authors. All rights reserved.
 * Use of this source code is governed by a BSD-style license that can be
 * found in the LICENSE file.
 */

#include "battery.h"
#include "charger.h"
#include "charger/isl923x_public.h"
#include "usb_pd.h"

const struct charger_config_t chg_chips[] = {
	{
		.i2c_port = I2C_PORT_USB_C0_TCPC,
		.i2c_addr_flags = ISL923X_ADDR_FLAGS,
		.drv = &isl923x_drv,
	},
	/* TODO(b:211693800) port 1 is present on sub-boards 1 and 2 with same
	 * configuration as port 0 but on I2C_PORT_USB_C1_TCPC.
	 */
};
const unsigned int chg_cnt = ARRAY_SIZE(chg_chips);

int extpower_is_present(void)
{
	int port;
	int rv;
	bool acok;

	for (port = 0; port < board_get_usb_pd_port_count(); port++) {
		rv = raa489000_is_acok(port, &acok);
		if ((rv == EC_SUCCESS) && acok)
			return 1;
	}

	return 0;
}
```
